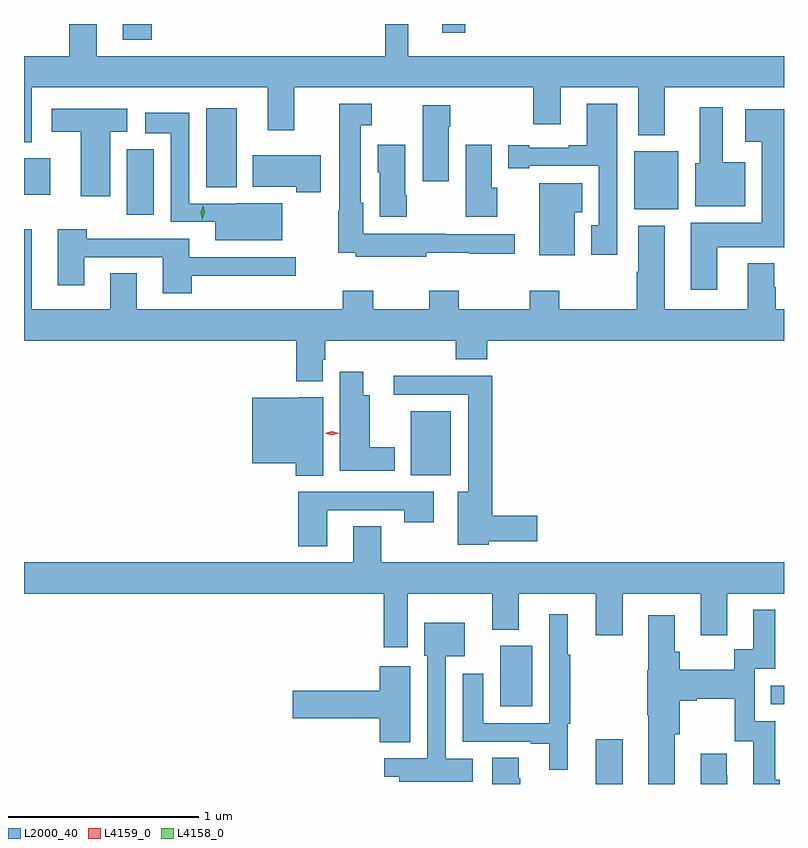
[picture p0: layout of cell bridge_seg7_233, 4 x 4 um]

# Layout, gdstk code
import gdstk
lib = gdstk.Library(unit=1e-6, precision=1e-09)
def R(c, l, rs):  # rectangles x0, y0, x1, y1
    for r in rs: c.add(gdstk.rectangle(r[:2], r[2:], *l))
def P(c, l, *ps):  # polygons
    for p in ps: c.add(gdstk.Polygon(p, *l))
L2000_40 = (2000, 40)
L4158_0 = (4158, 0)
L4159_0 = (4159, 0)

bridge_seg7_233 = lib.new_cell('bridge_seg7_233')
R(bridge_seg7_233, L2000_40, [(270.827,1050.23,270.967,1050.466), (270.323,1050.638,270.493,1050.958), (271.747,1050.651,271.817,1050.747), (269.852,1051.856,270.064,1052.191), (268.358,1053.225,268.501,1053.571), (271.028,1053.254,271.261,1053.559), (267.817,1053.332,267.955,1053.523), (268.775,1053.371,268.936,1053.787), (268.337,1054.146,268.49,1054.23), (270.017,1054.185,270.139,1054.23)])
P(bridge_seg7_233, L2000_40, [(267.859,1053.896),(269.099,1053.896),(269.099,1053.672),(269.239,1053.672),(269.239,1053.896),(270.496,1053.896),(270.496,1053.702),(270.643,1053.702),(270.643,1053.896),(271.049,1053.896),(271.049,1053.644),(271.189,1053.644),(271.189,1053.896),(271.817,1053.896),(271.817,1054.06),(269.839,1054.06),(269.839,1054.23),(269.718,1054.23),(269.718,1054.06),(268.201,1054.06),(268.201,1054.23),(268.054,1054.23),(268.054,1054.06),(267.817,1054.06),(267.817,1053.608),(267.859,1053.608)],
  [(270.939,1053.586),(270.94,1053.586),(270.94,1053.811),(270.779,1053.811),(270.779,1053.592),(270.683,1053.592),(270.683,1053.579),(270.475,1053.579),(270.475,1053.592),(270.365,1053.592),(270.365,1053.471),(270.475,1053.471),(270.475,1053.483),(270.843,1053.483),(270.843,1053.171),(270.803,1053.171),(270.803,1053.015),(270.939,1053.015)],
  [(269.934,1053.026),(270.161,1053.026),(270.161,1053.022),(270.4,1053.022),(270.4,1053.123),(270.034,1053.123),(270.034,1053.127),(269.602,1053.127),(269.602,1053.288),(269.59,1053.288),(269.59,1053.698),(269.647,1053.698),(269.647,1053.811),(269.477,1053.811),(269.477,1053.248),(269.47,1053.248),(269.47,1053.026),(269.562,1053.026),(269.562,1053.005),(269.934,1053.005)],
  [(270.052,1053.689),(270.06,1053.689),(270.06,1053.802),(269.915,1053.802),(269.915,1053.402),(270.052,1053.402)],
  [(271.612,1053.502),(271.495,1053.502),(271.495,1053.793),(271.373,1053.793),(271.373,1053.498),(271.349,1053.498),(271.349,1053.272),(271.612,1053.272)],
  [(268.27,1053.662),(268.36,1053.662),(268.36,1053.784),(267.963,1053.784),(267.963,1053.662),(268.115,1053.662),(268.115,1053.324),(268.27,1053.324)],
  [(271.465,1053.056),(271.817,1053.056),(271.817,1053.781),(271.613,1053.781),(271.613,1053.611),(271.7,1053.611),(271.7,1053.184),(271.325,1053.184),(271.325,1052.832),(271.465,1052.832)],
  [(269.176,1053.286),(268.932,1053.286),(268.932,1053.285),(268.686,1053.285),(268.686,1053.763),(268.455,1053.763),(268.455,1053.656),(268.59,1053.656),(268.59,1053.189),(268.823,1053.189),(268.823,1053.092),(269.176,1053.092)],
  [(270.307,1053.369),(270.28,1053.369),(270.28,1053.595),(270.143,1053.595),(270.143,1053.215),(270.307,1053.215)],
  [(269.832,1053.328),(269.824,1053.328),(269.824,1053.595),(269.678,1053.595),(269.678,1053.45),(269.69,1053.45),(269.69,1053.216),(269.832,1053.216)],
  [(269.38,1053.538),(269.021,1053.538),(269.021,1053.374),(269.251,1053.374),(269.251,1053.344),(269.38,1053.344)],
  [(270.715,1053.239),(270.754,1053.239),(270.754,1053.391),(270.53,1053.391),(270.53,1053.014),(270.715,1053.014)],
  [(269.389,1052.463),(269.402,1052.463),(269.402,1052.564),(270.089,1052.564),(270.089,1052.465),(270.254,1052.465),(270.254,1052.564),(271.817,1052.564),(271.817,1052.728),(271.773,1052.728),(271.773,1052.844),(271.765,1052.844),(271.765,1052.971),(271.625,1052.971),(271.625,1052.728),(271.189,1052.728),(271.189,1053.169),(271.049,1053.169),(271.049,1052.927),(271.042,1052.927),(271.042,1052.728),(270.633,1052.728),(270.633,1052.827),(270.478,1052.827),(270.478,1052.728),(270.105,1052.728),(270.105,1052.827),(269.95,1052.827),(269.95,1052.728),(269.655,1052.728),(269.655,1052.827),(269.495,1052.827),(269.495,1052.728),(268.411,1052.728),(268.411,1052.918),(268.271,1052.918),(268.271,1052.728),(267.859,1052.728),(267.859,1053.151),(267.817,1053.151),(267.817,1052.564),(269.249,1052.564),(269.249,1052.351),(269.389,1052.351)],
  [(268.7,1052.906),(269.248,1052.906),(269.248,1053.003),(268.687,1053.003),(268.687,1053.099),(268.148,1053.099),(268.148,1053.151),(267.995,1053.151),(267.995,1052.856),(268.135,1052.856),(268.135,1053.003),(268.547,1053.003),(268.547,1052.814),(268.7,1052.814)],
  [(269.767,1052.002),(269.638,1052.002),(269.638,1052.275),(269.602,1052.275),(269.602,1052.401),(269.48,1052.401),(269.48,1051.88),(269.767,1051.88)],
  [(270.264,1051.508),(270.517,1051.508),(270.517,1051.643),(270.281,1051.643),(270.281,1052.378),(269.763,1052.378),(269.763,1052.28),(270.155,1052.28),(270.155,1051.768),(270.101,1051.768),(270.101,1051.49),(270.264,1051.49)],
  [(269.392,1052.266),(269.262,1052.266),(269.262,1052.263),(269.018,1052.263),(269.018,1051.919),(269.246,1051.919),(269.246,1051.852),(269.392,1051.852)],
  [(269.413,1051.671),(269.818,1051.671),(269.818,1051.608),(269.974,1051.608),(269.974,1051.767),(269.261,1051.767),(269.261,1051.482),(269.413,1051.482)],
  [(269.697,1051.586),(269.549,1051.586),(269.549,1051.396),(267.817,1051.396),(267.817,1051.232),(269.711,1051.232),(269.711,1050.951),(269.836,1050.951),(269.836,1051.232),(270.281,1051.232),(270.281,1051.043),(270.421,1051.043),(270.421,1051.232),(270.827,1051.232),(270.827,1051.014),(270.967,1051.014),(270.967,1051.232),(271.379,1051.232),(271.379,1051.014),(271.519,1051.014),(271.519,1051.232),(271.817,1051.232),(271.817,1051.396),(269.697,1051.396)],
  [(271.243,1050.491),(271.269,1050.491),(271.269,1050.668),(271.357,1050.668),(271.357,1050.68),(271.559,1050.68),(271.559,1050.456),(271.655,1050.456),(271.655,1050.23),(271.795,1050.23),(271.795,1050.252),(271.771,1050.252),(271.771,1050.561),(271.662,1050.561),(271.662,1050.837),(271.771,1050.837),(271.771,1051.147),(271.655,1051.147),(271.655,1050.938),(271.554,1050.938),(271.554,1050.832),(271.269,1050.832),(271.269,1050.927),(271.243,1050.927),(271.243,1051.117),(271.103,1051.117),(271.103,1050.828),(271.096,1050.828),(271.096,1050.591),(271.103,1050.591),(271.103,1050.23),(271.243,1050.23)],
  [(270.679,1050.546),(270.691,1050.546),(270.691,1050.91),(270.679,1050.91),(270.679,1051.123),(270.582,1051.123),(270.582,1050.549),(270.235,1050.549),(270.235,1050.811),(270.125,1050.811),(270.125,1050.453),(270.485,1050.453),(270.485,1050.441),(270.581,1050.441),(270.581,1050.306),(270.679,1050.306)],
  [(270.178,1050.364),(270.036,1050.364),(270.036,1050.902),(270.136,1050.902),(270.136,1051.078),(269.924,1051.078),(269.924,1050.906),(269.94,1050.906),(269.94,1050.366),(269.712,1050.366),(269.712,1050.269),(269.793,1050.269),(269.793,1050.242),(270.178,1050.242)],
  [(269.851,1050.85),(269.69,1050.85),(269.69,1050.722),(269.232,1050.722),(269.232,1050.575),(269.69,1050.575),(269.69,1050.451),(269.851,1050.451)],
  [(271.519,1050.275),(271.516,1050.275),(271.516,1050.388),(271.379,1050.388),(271.379,1050.23),(271.519,1050.23)],
  [(270.429,1050.26),(270.421,1050.26),(270.421,1050.368),(270.281,1050.368),(270.281,1050.23),(270.429,1050.23)])
P(bridge_seg7_233, L4158_0, [(268.755,1053.201),(268.755,1053.202),(268.748,1053.238),(268.76,1053.273),(268.76,1053.273),(268.76,1053.273),(268.768,1053.237),(268.755,1053.202)])
P(bridge_seg7_233, L4159_0, [(269.437,1052.066),(269.4,1052.075),(269.4,1052.075),(269.4,1052.076),(269.437,1052.086),(269.475,1052.076),(269.475,1052.076),(269.475,1052.076)])

lib.write_gds('bridge_seg7_233.gds')
